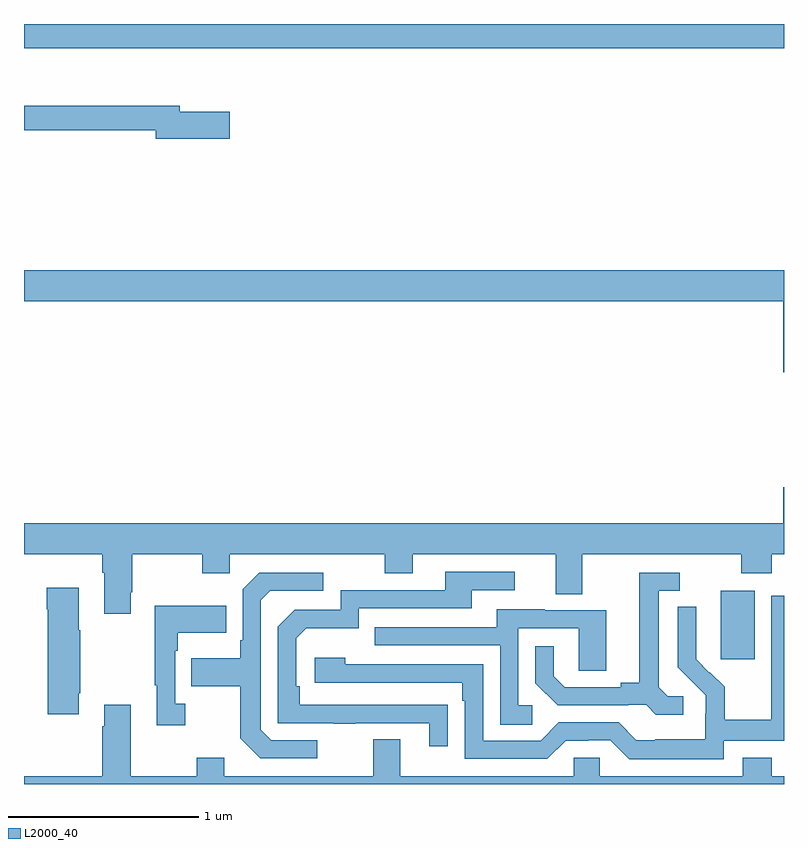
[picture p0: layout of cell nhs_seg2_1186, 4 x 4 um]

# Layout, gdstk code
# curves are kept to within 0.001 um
import gdstk
lib = gdstk.Library(unit=1e-6, precision=1e-09)
def R(c, l, rs):  # rectangles x0, y0, x1, y1
    for r in rs: c.add(gdstk.rectangle(r[:2], r[2:], *l))
def P(c, l, *ps):  # polygons
    for p in ps: c.add(gdstk.Polygon(p, *l))
L2000_40 = (2000, 40)

nhs_seg2_1186 = lib.new_cell('nhs_seg2_1186')
R(nhs_seg2_1186, L2000_40, [(176.666,608.457,176.845,608.818), (173,611.672,177,611.8)])
P(nhs_seg2_1186, L2000_40, [(174.082,611.337),(173.821,611.337),(173.821,611.371),(173,611.371),(173,611.242),(173.693,611.242),(173.693,611.195),(174.082,611.195)],
  [(177,610.504),(173,610.504),(173,610.34),(176.996,610.34),(176.996,609.966),(177,609.966)],
  [(173.563,608.809),(173.571,608.809),(173.571,609.008),(173.938,609.008),(173.938,608.909),(174.084,608.909),(174.084,609.008),(174.898,609.008),(174.898,608.909),(175.045,608.909),(175.045,609.008),(175.799,609.008),(175.799,608.8),(175.939,608.8),(175.939,609.008),(176.776,609.008),(176.776,608.909),(176.936,608.909),(176.936,609.008),(177,609.008),(177,609.361),(176.996,609.361),(176.996,609.172),(173,609.172),(173,609.008),(173.411,609.008),(173.411,608.912),(173.423,608.912),(173.423,608.697),(173.563,608.697)],
  [(175.229,608.216),(174.452,608.217),(174.452,608.314),(174.432,608.314),(174.432,608.568),(174.485,608.621),(174.762,608.621),(174.762,608.724),(175.357,608.724),(175.357,608.82),(175.582,608.82),(175.582,608.916),(175.217,608.916),(175.217,608.82),(174.666,608.82),(174.666,608.718),(174.426,608.718),(174.336,608.628),(174.336,608.121),(174.631,608.121),(174.631,608.116),(174.743,608.116),(174.743,608.121),(175.133,608.121),(175.133,607.998),(175.229,607.998)],
  [(174.544,608.031),(174.3,608.031),(174.246,608.085),(174.246,608.766),(174.297,608.817),(174.574,608.817),(174.574,608.913),(174.237,608.913),(174.15,608.826),(174.15,608.557),(174.138,608.557),(174.138,608.461),(173.881,608.461),(173.881,608.314),(174.138,608.314),(174.138,608.041),(174.243,607.935),(174.544,607.935)],
  [(176.47,608.262),(176.388,608.262),(176.341,608.309),(176.341,608.817),(176.452,608.817),(176.452,608.913),(176.237,608.913),(176.237,608.333),(176.141,608.333),(176.141,608.31),(175.846,608.31),(175.789,608.367),(175.789,608.524),(175.692,608.524),(175.692,608.33),(175.808,608.214),(176.18,608.214),(176.18,608.217),(176.274,608.217),(176.326,608.165),(176.47,608.165)],
  [(173.287,608.278),(173.295,608.278),(173.295,608.609),(173.287,608.609),(173.287,608.833),(173.12,608.833),(173.12,608.72),(173.125,608.72),(173.125,608.166),(173.287,608.166)],
  [(176.682,608.028),(177,608.028),(177,608.79),(176.934,608.79),(176.934,608.36),(176.932,608.36),(176.932,608.137),(176.687,608.137),(176.687,608.311),(176.61,608.388),(176.607,608.385),(176.537,608.456),(176.538,608.732),(176.442,608.732),(176.442,608.414),(176.588,608.266),(176.588,608.169),(176.586,608.169),(176.586,608.035),(176.323,608.035),(176.323,608.031),(176.223,608.031),(176.13,608.124),(175.815,608.124),(175.719,608.028),(175.416,608.028),(175.416,608.43),(174.692,608.43),(174.692,608.464),(174.531,608.464),(174.531,608.334),(175.307,608.334),(175.307,608.237),(175.32,608.237),(175.32,607.932),(175.755,607.932),(175.851,608.028),(175.97,608.028),(175.97,608.031),(176.085,608.031),(176.185,607.931),(176.682,607.931)],
  [(173.848,608.222),(173.796,608.222),(173.796,608.501),(173.809,608.501),(173.809,608.597),(174.065,608.597),(174.065,608.737),(173.688,608.737),(173.688,608.321),(173.699,608.321),(173.699,608.109),(173.848,608.109)],
  [(175.675,608.214),(175.602,608.214),(175.602,608.619),(175.92,608.619),(175.92,608.395),(176.065,608.395),(176.065,608.715),(175.741,608.715),(175.741,608.719),(175.487,608.719),(175.487,608.625),(174.847,608.625),(174.847,608.529),(175.506,608.529),(175.506,608.113),(175.675,608.113)],
  [(177,607.84),(176.936,607.84),(176.936,607.939),(176.783,607.939),(176.783,607.84),(176.031,607.84),(176.031,607.938),(175.893,607.938),(175.893,607.84),(174.979,607.84),(174.979,608.035),(174.839,608.035),(174.839,607.84),(174.055,607.84),(174.055,607.939),(173.908,607.939),(173.908,607.84),(173.563,607.84),(173.563,608.218),(173.423,608.218),(173.423,608.105),(173.411,608.105),(173.411,607.84),(173,607.84),(173,607.8),(177,607.8)])

lib.write_gds('nhs_seg2_1186.gds')
